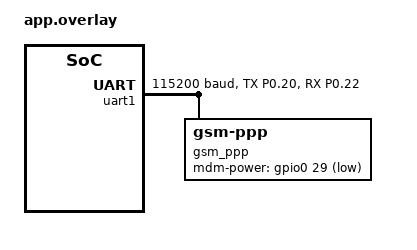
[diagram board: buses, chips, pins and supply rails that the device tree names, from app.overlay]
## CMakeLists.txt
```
cmake_minimum_required(VERSION 3.20.0)

find_package(Zephyr REQUIRED HINTS $ENV{ZEPHYR_BASE})

project(modem_ppp_sim7080g_simple)

target_sources(app PRIVATE src/main.c)
```

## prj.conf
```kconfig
# # Journalisation générale
# CONFIG_LOG=y

# # Pile Réseau Fondamentale
# CONFIG_NETWORKING=y
# CONFIG_NET_IPV4=y
# CONFIG_NET_SOCKETS=y

# # Activation correcte d'ICMP (Ping) pour IPv4

# # Activation de la couche PPP native
# CONFIG_NET_L2_PPP=y
# CONFIG_MODEM_CMUX=n
# # Le framework modem moderne de Zephyr
# CONFIG_MODEM=y
# CONFIG_MODEM_CELLULAR=y
# CONFIG_MODEM_CELLULAR_APN="TM"
# CONFIG_BUILD_OUTPUT_UF2=y
# CONFIG_LOG_DEFAULT_LEVEL=2

# CONFIG_MODEM_LOG_LEVEL_DBG=y
# CONFIG_NET_PPP_LOG_LEVEL_DBG=y
# CONFIG_NET_L2_PPP_LOG_LEVEL_DBG=y
# CONFIG_NET_LOG=y
# CONFIG_NET_CORE_LOG_LEVEL_DBG=y
# CONFIG_NET_IF_LOG_LEVEL_DBG=y
# CONFIG_NET_MGMT_EVENT_LOG_LEVEL_DBG=y

# # Make sure you have enough log buffer
# CONFIG_LOG_BUFFER_SIZE=4096
# CONFIG_LOG_PROCESS_THREAD_STACK_SIZE=2048

# CONFIG_USB_DEVICE_LOG_LEVEL_OFF=y
# CONFIG_UDC_DRIVER_LOG_LEVEL_OFF=y
# CONFIG_MPU_LOG_LEVEL_OFF=y

# --- Système de base et Réseau ---
CONFIG_NETWORKING=y
CONFIG_NET_NATIVE=y
CONFIG_NET_DRIVERS=y

# --- Pile IP (IPv4) ---
CONFIG_NET_IPV4=y
CONFIG_NET_SOCKETS=y

# --- Pile PPP (Liaison réseau) ---
CONFIG_NET_L2_PPP=y
CONFIG_NET_PPP=y

# --- Configuration du Driver Modem Générique GSM ---
CONFIG_MODEM=y
CONFIG_UART_INTERRUPT_DRIVEN=y
CONFIG_MODEM_GSM_APN="tm"
CONFIG_MODEM_LOG_LEVEL_DBG=y

# --- Allocation des buffers réseau (Essentiel pour le trafic PPP) ---
CONFIG_NET_PKT_RX_COUNT=10
CONFIG_NET_PKT_TX_COUNT=10
CONFIG_NET_BUF_RX_COUNT=20
CONFIG_NET_BUF_TX_COUNT=20

# --- Traces de debug (Pour voir l'échange AT et PPP dans la console) ---
CONFIG_NET_LOG=y
CONFIG_MODEM_LOG_LEVEL_DBG=y



CONFIG_BUILD_OUTPUT_UF2=y
```

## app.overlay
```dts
/* Vos définitions &pinctrl restent exactement les mêmes, ne les changez pas */
&pinctrl {
    uart1_default: uart1_default {
        group1 { psels = <NRF_PSEL(UART_TX, 0, 20)>; };
        group2 { psels = <NRF_PSEL(UART_RX, 0, 22)>; bias-pull-up; };
    };
    uart1_sleep: uart1_sleep {
        group1 { psels = <NRF_PSEL(UART_TX, 0, 20)>, <NRF_PSEL(UART_RX, 0, 22)>; low-power-enable; };
    };
};

&uart1 {
    status = "okay";
    current-speed = <115200>;
    pinctrl-0 = <&uart1_default>;
    pinctrl-1 = <&uart1_sleep>;
    pinctrl-names = "default", "sleep";

    /* --- LA CORRECTION EST ICI --- */
    gsm_ppp: gsm-ppp {
        compatible = "zephyr,gsm-ppp";
        status = "okay";
        mdm-power-gpios = <&gpio0 29 GPIO_ACTIVE_LOW>;
    };
};
```

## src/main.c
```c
#include <zephyr/kernel.h>
#include <zephyr/net/net_if.h>
#include <zephyr/net/net_core.h>

void main(void) {
    struct net_if *iface = net_if_get_default();
    
    printk("Attente de la connexion PPP...\n");
    
    while (!net_if_is_up(iface)) {
        k_sleep(K_MSEC(500));
    }

    printk("Connecté à Internet via PPP ! Le module SIM7080 est prêt.\n");
    // Vous pouvez maintenant utiliser les sockets standards (BSD) de Zephyr
}
```
